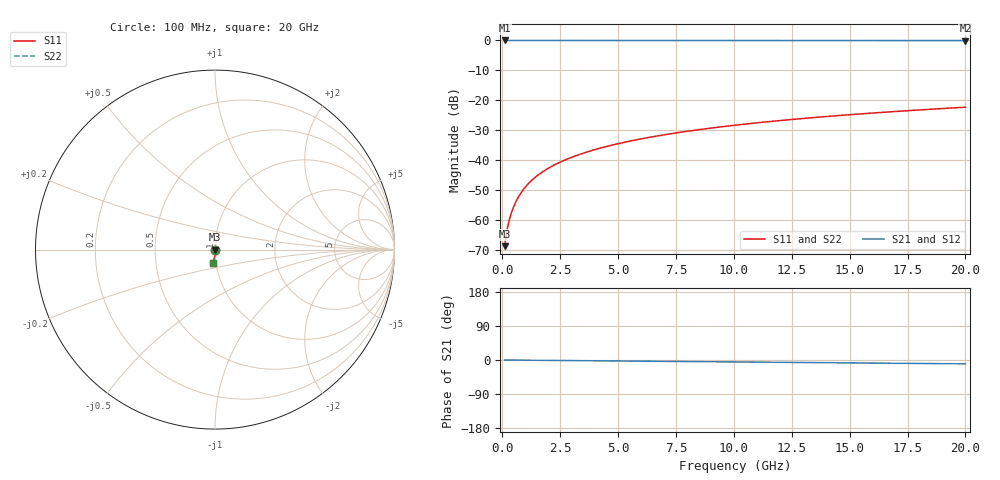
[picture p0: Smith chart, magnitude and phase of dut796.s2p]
! Touchstone file exported from HFSS 2026.1.0
!  File:  C:/ffzhzh/LocalFiles/Ansys_Project_Files/temp_train_TSV_796_1783183997_18472.aedt
!  Generated:  12:54:34 AM Jul  5, 2026
!  Design:  TSV
!  Project:  temp_train_TSV_796_1783183997_18472
! Variables:
!  h_bsmrdl = 2um
!  h_ox = 20um
!  h_rdl = 5um
!  h_sub = 99.94um
!  h_tmrdl = 5um
!  h_tsv = 99.94um
!  h_via = 3um
!  l_bsmrdl = 300um
!  l_sub = 419.14um
!  l_tmrdl = 200um
!  m_sub = 200um
!  pitch = 26.49um
!  r_tsv = 9.57um
!  s_tmrdl = 10um
!  w_bsmrdl = 18um
!  w_sub = 500um
!  w_tmrdl = 12um
!  x_tsv_center1 = 206um
!  x_tsv_center2 = 524um
!  x_tsv_center3 = 736um
!  x_tsv_center4 = 1054um
!  x_tsv_center5 = 1266um
!  x_tsv_center6 = 1584um
# GHz S MA R 50.000000
! Terminal data exported
! Port[1] = TSV1_1_T1
! Port[2] = TSV1_1_T2
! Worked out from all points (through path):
!   200 points, 100 MHz to 20 GHz, reference 50 ohm
!   highest |S21| = 0.00 dB at 100 MHz (marker M1); lowest = 0.0 dB at 20 GHz (marker M2)
!   group delay of S21, straight-line fit = 1.41 ps
!   lowest |S11| = -68.8 dB at 100 MHz (marker M3), VSWR 1.00, Z = 50 - j0.0315 ohm
!   |S11| at or under -10 dB: start of sweep to end of sweep
!   |S22| runs from -68.8 to -22.3 dB; largest |S21 - S12| = 2.2e-15
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0.1  0.000362 -60.4  0.9998 -0.1  0.9998 -0.1  0.000362 -60.4
! Gamma 0 0 0 0
! Port Impedance 50 0 50 0
0.2  0.0006665 -72.5  0.9998 -0.1  0.9998 -0.1  0.0006665 -72.5
0.3  0.0009941 -76.5  0.9998 -0.2  0.9998 -0.2  0.0009941 -76.5
0.4  0.001336 -78.5  0.9997 -0.2  0.9997 -0.2  0.001336 -78.5
0.5  0.00169 -79.7  0.9997 -0.3  0.9997 -0.3  0.00169 -79.7
0.7  0.002421 -81.3  0.9996 -0.4  0.9996 -0.4  0.002421 -81.3
0.8  0.002794 -81.9  0.9996 -0.4  0.9996 -0.4  0.002794 -81.9
1  0.003546 -83.0  0.9995 -0.5  0.9995 -0.5  0.003546 -83.0
1.2  0.004303 -83.9  0.9995 -0.6  0.9995 -0.6  0.004303 -83.9
1.4  0.00506 -84.6  0.9994 -0.7  0.9994 -0.7  0.00506 -84.6
1.7  0.006197 -85.5  0.9994 -0.9  0.9994 -0.9  0.006197 -85.5
2  0.007333 -86.2  0.9993 -1.0  0.9993 -1.0  0.007333 -86.2
2.7  0.009987 -87.4  0.9992 -1.4  0.9992 -1.4  0.009987 -87.4
3.5  0.01303 -88.3  0.9991 -1.8  0.9991 -1.8  0.01303 -88.3
4.2  0.0157 -89.0  0.999 -2.2  0.999 -2.2  0.0157 -89.0
5  0.01876 -89.6  0.9989 -2.6  0.9989 -2.6  0.01876 -89.6
6.8  0.02568 -91.0  0.9985 -3.5  0.9985 -3.5  0.02568 -91.0
8.3  0.03146 -92.0  0.9982 -4.2  0.9982 -4.2  0.03146 -92.0
10.1  0.0384 -93.1  0.9979 -5.2  0.9979 -5.2  0.0384 -93.1
13.4  0.05111 -95.0  0.9971 -6.8  0.9971 -6.8  0.05112 -95.0
16.7  0.06379 -96.9  0.9962 -8.5  0.9962 -8.5  0.06379 -96.9
20  0.07642 -98.7  0.9951 -10.1  0.9951 -10.1  0.07642 -98.7
